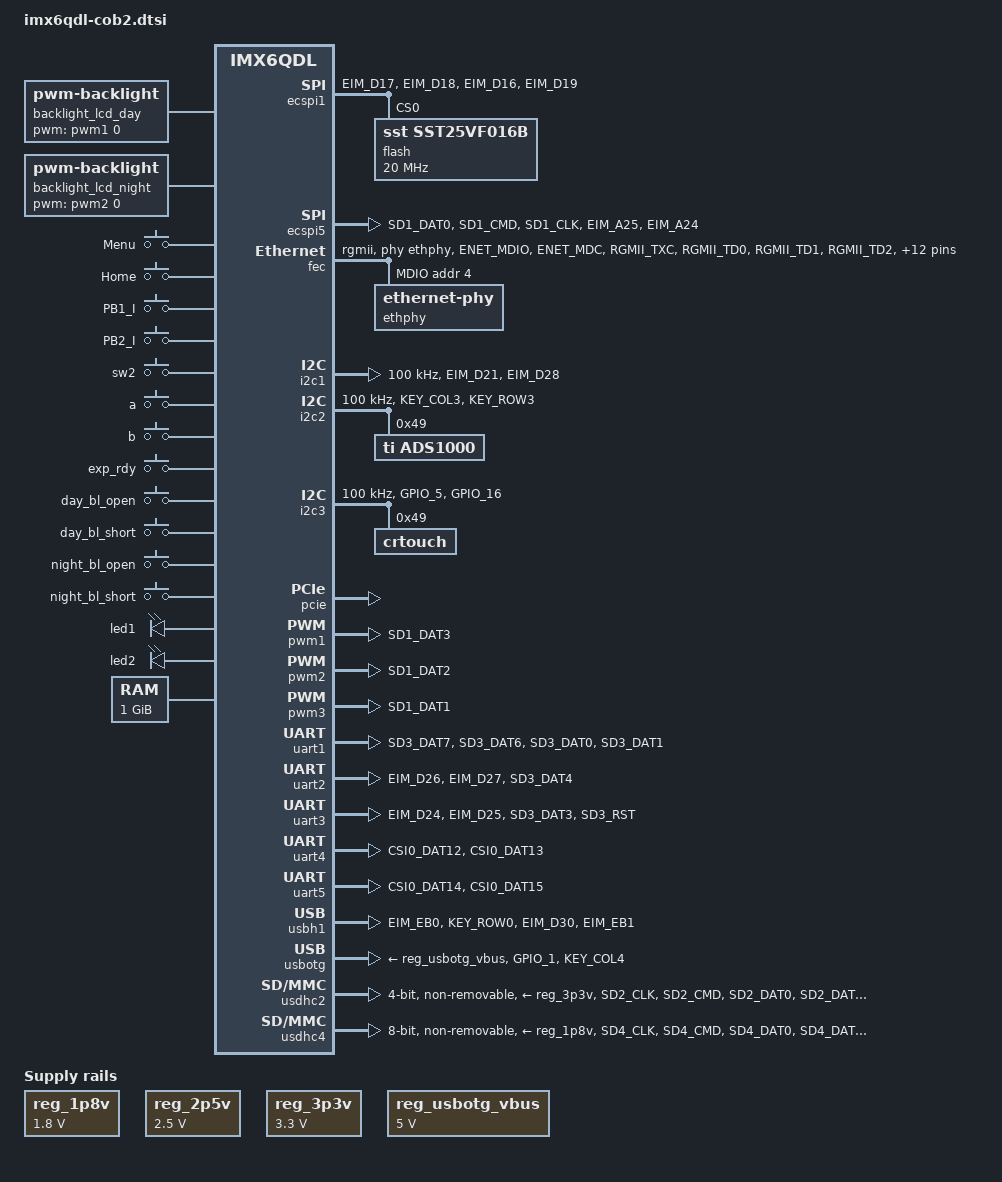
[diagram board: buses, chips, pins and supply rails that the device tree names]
/*
 * Copyright 2015 Boundary Devices, Inc.
 *
 * This file is dual-licensed: you can use it either under the terms
 * of the GPL or the X11 license, at your option. Note that this dual
 * licensing only applies to this file, and not this project as a
 * whole.
 *
 *  a) This file is free software; you can redistribute it and/or
 *     modify it under the terms of the GNU General Public License
 *     version 2 as published by the Free Software Foundation.
 *
 *     This file is distributed in the hope that it will be useful
 *     but WITHOUT ANY WARRANTY; without even the implied warranty of
 *     MERCHANTABILITY or FITNESS FOR A PARTICULAR PURPOSE.  See the
 *     GNU General Public License for more details.
 *
 * Or, alternatively
 *
 *  b) Permission is hereby granted, free of charge, to any person
 *     obtaining a copy of this software and associated documentation
 *     files (the "Software"), to deal in the Software without
 *     restriction, including without limitation the rights to use
 *     copy, modify, merge, publish, distribute, sublicense, and/or
 *     sell copies of the Software, and to permit persons to whom the
 *     Software is furnished to do so, subject to the following
 *     conditions:
 *
 *     The above copyright notice and this permission notice shall be
 *     included in all copies or substantial portions of the Software.
 *
 *     THE SOFTWARE IS PROVIDED , WITHOUT WARRANTY OF ANY KIND
 *     EXPRESS OR IMPLIED, INCLUDING BUT NOT LIMITED TO THE WARRANTIES
 *     OF MERCHANTABILITY, FITNESS FOR A PARTICULAR PURPOSE AND
 *     NONINFRINGEMENT. IN NO EVENT SHALL THE AUTHORS OR COPYRIGHT
 *     HOLDERS BE LIABLE FOR ANY CLAIM, DAMAGES OR OTHER LIABILITY
 *     WHETHER IN AN ACTION OF CONTRACT, TORT OR OTHERWISE, ARISING
 *     FROM, OUT OF OR IN CONNECTION WITH THE SOFTWARE OR THE USE OR
 *     OTHER DEALINGS IN THE SOFTWARE.
 */
#include <dt-bindings/gpio/gpio.h>
#include <dt-bindings/input/input.h>

&iomuxc {
	pinctrl-names = "default";
	pinctrl-0 = <&pinctrl_hog>;

        iomuxc_imx6q_cob2: iomuxc-imx6q-cob2grp {
                status = "okay";
        };
};

&iomuxc_imx6q_cob2 {
	pinctrl_ecspi1: ecspi1grp {
		fsl,pins = <
			MX6QDL_PAD_EIM_D17__ECSPI1_MISO		0x100b1
			MX6QDL_PAD_EIM_D18__ECSPI1_MOSI		0x100b1
			MX6QDL_PAD_EIM_D16__ECSPI1_SCLK		0x100b1
#define GP_ECSPI1_NOR_CS	<&gpio3 19 GPIO_ACTIVE_LOW>
			MX6QDL_PAD_EIM_D19__GPIO3_IO19		0x000b1
		>;
	};

	pinctrl_ecspi5: ecspi5grp {
		fsl,pins = <
			MX6QDL_PAD_SD1_DAT0__ECSPI5_MISO	0x100b1
			MX6QDL_PAD_SD1_CMD__ECSPI5_MOSI		0x100b1
			MX6QDL_PAD_SD1_CLK__ECSPI5_SCLK		0x100b1
#define GP_ECSPI5_CS0		<&gpio5 2 GPIO_ACTIVE_LOW>
			MX6QDL_PAD_EIM_A25__GPIO5_IO02		0x000b1
#define GP_ECSPI5_CS1		<&gpio5 4 GPIO_ACTIVE_LOW>
			MX6QDL_PAD_EIM_A24__GPIO5_IO04		0x000b1
		>;
	};

	pinctrl_enet: enetgrp {
		fsl,pins = <
			MX6QDL_PAD_ENET_MDIO__ENET_MDIO		0x100b0
			MX6QDL_PAD_ENET_MDC__ENET_MDC		0x100b0
			MX6QDL_PAD_RGMII_TXC__RGMII_TXC		0x10030
			MX6QDL_PAD_RGMII_TD0__RGMII_TD0		0x10030
			MX6QDL_PAD_RGMII_TD1__RGMII_TD1		0x10030
			MX6QDL_PAD_RGMII_TD2__RGMII_TD2		0x10030
			MX6QDL_PAD_RGMII_TD3__RGMII_TD3		0x10030
			MX6QDL_PAD_RGMII_TX_CTL__RGMII_TX_CTL	0x10030
			MX6QDL_PAD_ENET_REF_CLK__ENET_TX_CLK	0x100b0
			MX6QDL_PAD_RGMII_RXC__RGMII_RXC		0x1b030
			MX6QDL_PAD_RGMII_RD0__RGMII_RD0		0x1b030
			MX6QDL_PAD_RGMII_RD1__RGMII_RD1		0x1b030
			MX6QDL_PAD_RGMII_RD2__RGMII_RD2		0x1b030
			MX6QDL_PAD_RGMII_RD3__RGMII_RD3		0x1b030
			MX6QDL_PAD_RGMII_RX_CTL__RGMII_RX_CTL	0x1b030
#define GP_ENET_PHY_RESET	<&gpio1 27 GPIO_ACTIVE_LOW>
			MX6QDL_PAD_ENET_RXD0__GPIO1_IO27	0x030b0
#define GPIRQ_ENET_PHY		<&gpio1 28 IRQ_TYPE_LEVEL_LOW>
			MX6QDL_PAD_ENET_TX_EN__GPIO1_IO28	0x1b0b0
#define GPIRQ_ENET		<&gpio1 6 IRQ_TYPE_LEVEL_HIGH>
			MX6QDL_PAD_GPIO_6__ENET_IRQ		0x000b1
		>;
	};

	pinctrl_gpio_keys: gpio-keysgrp {
		fsl,pins = <
#define GP_GPIOKEYS_MENU	<&gpio1 0 GPIO_ACTIVE_LOW>
			MX6QDL_PAD_GPIO_0__GPIO1_IO00		0x1b0b0
#define GP_GPIOKEYS_HOME	<&gpio1 2 GPIO_ACTIVE_LOW>
			MX6QDL_PAD_GPIO_2__GPIO1_IO02		0x1b0b0
#define GP_GPIOKEYS_PB1_I	<&gpio1 8 GPIO_ACTIVE_LOW>
			MX6QDL_PAD_GPIO_8__GPIO1_IO08		0x1b0b0
#define GP_GPIOKEYS_PB2_I	<&gpio7 12 GPIO_ACTIVE_LOW>
			MX6QDL_PAD_GPIO_17__GPIO7_IO12		0x1b0b0
#define GP_GPIOKEYS_SW2		<&gpio3 9 GPIO_ACTIVE_LOW>
			MX6QDL_PAD_EIM_DA9__GPIO3_IO09		0x1b0b0
#define GP_GPIOKEYS_A		<&gpio3 12 GPIO_ACTIVE_LOW>
			MX6QDL_PAD_EIM_DA12__GPIO3_IO12		0x1b0b0
#define GP_GPIOKEYS_B		<&gpio3 13 GPIO_ACTIVE_LOW>
			MX6QDL_PAD_EIM_DA13__GPIO3_IO13		0x1b0b0
#define GP_GPIOKEYS_EXP_RDY	<&gpio3 14 GPIO_ACTIVE_LOW>
			MX6QDL_PAD_EIM_DA14__GPIO3_IO14		0x1b0b0
#define GP_GPIOKEYS_DAY_BL_OPEN	<&gpio7 13 GPIO_ACTIVE_LOW>
			MX6QDL_PAD_GPIO_18__GPIO7_IO13		0x1b0b0
#define GP_GPIOKEYS_DAY_BL_SHORT <&gpio4 5 GPIO_ACTIVE_LOW>
			MX6QDL_PAD_GPIO_19__GPIO4_IO05		0x1b0b0
#define GP_GPIOKEYS_NIGHT_BL_OPEN <&gpio4 6 GPIO_ACTIVE_LOW>
			MX6QDL_PAD_KEY_COL0__GPIO4_IO06		0x1b0b0
#define GP_GPIOKEYS_NIGHT_BL_SHORT <&gpio1 3 GPIO_ACTIVE_LOW>
			MX6QDL_PAD_GPIO_3__GPIO1_IO03		0x1b0b0
		>;
	};

	pinctrl_gpio_leds: gpio-ledsgrp {
		fsl,pins = <
#define GP_GPIOLEDS_1		<&gpio2 19 GPIO_ACTIVE_LOW>
			MX6QDL_PAD_EIM_A19__GPIO2_IO19		0x0b0b0
#define GP_GPIOLEDS_2		<&gpio2 18 GPIO_ACTIVE_LOW>
			MX6QDL_PAD_EIM_A20__GPIO2_IO18		0x0b0b0
		>;
	};

	pinctrl_hog: hoggrp {
		fsl,pins = <
#define GP_HEATER_EN		<&gpio4 10 GPIO_ACTIVE_LOW>
			MX6QDL_PAD_KEY_COL2__GPIO4_IO10		0x0b0b0
#define GP_LCD_DAY_BACKLIGHT_EN	<&gpio4 15 GPIO_ACTIVE_LOW>
			MX6QDL_PAD_KEY_ROW4__GPIO4_IO15		0x0b0b0
#define GP_LCD_NIGHT_BACKLIGHT_EN <&gpio4 11 GPIO_ACTIVE_LOW>
			MX6QDL_PAD_KEY_ROW2__GPIO4_IO11		0x0b0b0
#define GP_EXPAN_EN		<&gpio3 15 GPIO_ACTIVE_HIGH>
			MX6QDL_PAD_EIM_DA15__GPIO3_IO15	0x030b0

#define GP_TX			<&gpio2 30 GPIO_ACTIVE_LOW>
			MX6QDL_PAD_EIM_EB2__GPIO2_IO30		0x1b0b0
#define GP_RX			<&gpio2 31 GPIO_ACTIVE_LOW>
			MX6QDL_PAD_EIM_EB3__GPIO2_IO31		0x1b0b0

#define GP_HEATER_FAULT		<&gpio5 0 GPIO_ACTIVE_LOW>
			MX6QDL_PAD_EIM_WAIT__GPIO5_IO00		0x1b0b0

#define GP_DA1_OUTA		<&gpio3 0 GPIO_ACTIVE_LOW>
			MX6QDL_PAD_EIM_DA0__GPIO3_IO00		0x1b0b0
#define GP_DA1_OUTB		<&gpio3 1 GPIO_ACTIVE_LOW>
			MX6QDL_PAD_EIM_DA1__GPIO3_IO01		0x1b0b0
#define GP_DB1_OUTA		<&gpio3 2 GPIO_ACTIVE_LOW>
			MX6QDL_PAD_EIM_DA2__GPIO3_IO02		0x1b0b0
#define GP_DB1_OUTB		<&gpio3 3 GPIO_ACTIVE_LOW>
			MX6QDL_PAD_EIM_DA3__GPIO3_IO03		0x1b0b0
#define GP_DA2_OUTA		<&gpio3 4 GPIO_ACTIVE_LOW>
			MX6QDL_PAD_EIM_DA4__GPIO3_IO04		0x1b0b0
#define GP_DA2_OUTB		<&gpio3 5 GPIO_ACTIVE_LOW>
			MX6QDL_PAD_EIM_DA5__GPIO3_IO05		0x1b0b0
#define GP_DB2_OUTA		<&gpio3 6 GPIO_ACTIVE_LOW>
			MX6QDL_PAD_EIM_DA6__GPIO3_IO06		0x1b0b0
#define GP_DB2_OUTB		<&gpio3 7 GPIO_ACTIVE_LOW>
			MX6QDL_PAD_EIM_DA7__GPIO3_IO07		0x1b0b0
#define GP_DIS_FPGA_RESET	<&gpio1 4 GPIO_ACTIVE_LOW>
			MX6QDL_PAD_GPIO_4__GPIO1_IO04	0x130b0
#define GP_I2C_DIG_SEL		<&gpio4 8 GPIO_ACTIVE_LOW>
			MX6QDL_PAD_KEY_COL1__GPIO4_IO08		0x1b0b0
#define GP_FPGA_READY		<&gpio4 9 GPIO_ACTIVE_LOW>
			MX6QDL_PAD_KEY_ROW1__GPIO4_IO09		0x1b0b0

#define GP_HOG_TP71		<&gpio1 30 GPIO_ACTIVE_LOW>
			MX6QDL_PAD_ENET_TXD0__GPIO1_IO30	0x1b0b0
#define GP_HOG_TP74		<&gpio2 7 GPIO_ACTIVE_LOW>
			MX6QDL_PAD_NANDF_D7__GPIO2_IO07		0x130b0
#define GP_HOG_TP78		<&gpio1 7 GPIO_ACTIVE_LOW>
			MX6QDL_PAD_GPIO_7__GPIO1_IO07		0x1b0b0
#define GP_TP79			<&gpio7 6 GPIO_ACTIVE_LOW>
			MX6QDL_PAD_SD3_DAT2__GPIO7_IO06		0x1b0b0
#define GP_TP80			<&gpio5 29 GPIO_ACTIVE_LOW>
			MX6QDL_PAD_CSI0_DAT11__GPIO5_IO29	0x1b0b0
#define GP_TP81			<&gpio7 0 GPIO_ACTIVE_LOW>
			MX6QDL_PAD_SD3_DAT5__GPIO7_IO00		0x1b0b0
		>;
	};

	pinctrl_i2c1: i2c1grp {
		fsl,pins = <
			MX6QDL_PAD_EIM_D21__I2C1_SCL		0x4001b8b1
			MX6QDL_PAD_EIM_D28__I2C1_SDA		0x4001b8b1
		>;
	};

	pinctrl_i2c1_1: i2c1_1grp {
		fsl,pins = <
#define GP_I2C1_SCL	<&gpio3 21 GPIO_ACTIVE_HIGH>
			MX6QDL_PAD_EIM_D21__GPIO3_IO21		0x4001b8b1
#define GP_I2C1_SDA	<&gpio3 28 GPIO_ACTIVE_HIGH>
			MX6QDL_PAD_EIM_D28__GPIO3_IO28		0x4001b8b1
		>;
	};

	pinctrl_i2c2: i2c2grp {
		fsl,pins = <
			MX6QDL_PAD_KEY_COL3__I2C2_SCL		0x4001b8b1
			MX6QDL_PAD_KEY_ROW3__I2C2_SDA		0x4001b8b1
		>;
	};

	pinctrl_i2c2_1: i2c2_1grp {
		fsl,pins = <
#define GP_I2C2_SCL	<&gpio4 12 GPIO_ACTIVE_HIGH>
			MX6QDL_PAD_KEY_COL3__GPIO4_IO12		0x4001b8b1
#define GP_I2C2_SDA	<&gpio4 13 GPIO_ACTIVE_HIGH>
			MX6QDL_PAD_KEY_ROW3__GPIO4_IO13		0x4001b8b1
		>;
	};

	pinctrl_i2c3: i2c3grp {
		fsl,pins = <
			MX6QDL_PAD_GPIO_5__I2C3_SCL		0x4001b8b1
			MX6QDL_PAD_GPIO_16__I2C3_SDA		0x4001b8b1
		>;
	};

	pinctrl_i2c3_1: i2c3_1grp {
		fsl,pins = <
#define GP_I2C3_SCL	<&gpio1 5 GPIO_ACTIVE_HIGH>
			MX6QDL_PAD_GPIO_5__GPIO1_IO05		0x4001b8b1
#define GP_I2C3_SDA	<&gpio7 11 GPIO_ACTIVE_HIGH>
			MX6QDL_PAD_GPIO_16__GPIO7_IO11		0x4001b8b1
		>;
	};

	pinctrl_i2c3_crtouch: i2c3-crtouchgrp {
		fsl,pins = <
#define GPIRQ_I2C3_CRTOUCH	<&gpio1 9 IRQ_TYPE_EDGE_FALLING>
#define GP_I2C3_CRTOUCH		<&gpio1 9 GPIO_ACTIVE_LOW>
			MX6QDL_PAD_GPIO_9__GPIO1_IO09		0x1b0b0

#define GP_I2C3_CRTOUCH_WAKE	<&gpio2 27 GPIO_ACTIVE_LOW>
			MX6QDL_PAD_EIM_LBA__GPIO2_IO27		0x1b0b0
#define GP_I2C3_CRTOUCH_RESET	<&gpio2 26 GPIO_ACTIVE_LOW>
			MX6QDL_PAD_EIM_RW__GPIO2_IO26		0x130b0

		>;
	};

	pinctrl_lcd0: lcd0grp {
		fsl,pins = <
			MX6QDL_PAD_DI0_DISP_CLK__IPU1_DI0_DISP_CLK	0x10
			MX6QDL_PAD_DI0_PIN2__IPU1_DI0_PIN02		0x10
			MX6QDL_PAD_DI0_PIN3__IPU1_DI0_PIN03		0x10
			MX6QDL_PAD_DI0_PIN15__IPU1_DI0_PIN15		0x10
			MX6QDL_PAD_DISP0_DAT0__IPU1_DISP0_DATA00	0x10
			MX6QDL_PAD_DISP0_DAT1__IPU1_DISP0_DATA01	0x10
			MX6QDL_PAD_DISP0_DAT2__IPU1_DISP0_DATA02	0x10
			MX6QDL_PAD_DISP0_DAT3__IPU1_DISP0_DATA03	0x10
			MX6QDL_PAD_DISP0_DAT4__IPU1_DISP0_DATA04	0x10
			MX6QDL_PAD_DISP0_DAT5__IPU1_DISP0_DATA05	0x10
			MX6QDL_PAD_DISP0_DAT6__IPU1_DISP0_DATA06	0x10
			MX6QDL_PAD_DISP0_DAT7__IPU1_DISP0_DATA07	0x10
			MX6QDL_PAD_DISP0_DAT8__IPU1_DISP0_DATA08	0x10
			MX6QDL_PAD_DISP0_DAT9__IPU1_DISP0_DATA09	0x10
			MX6QDL_PAD_DISP0_DAT10__IPU1_DISP0_DATA10	0x10
			MX6QDL_PAD_DISP0_DAT11__IPU1_DISP0_DATA11	0x10
			MX6QDL_PAD_DISP0_DAT12__IPU1_DISP0_DATA12	0x10
			MX6QDL_PAD_DISP0_DAT13__IPU1_DISP0_DATA13	0x10
			MX6QDL_PAD_DISP0_DAT14__IPU1_DISP0_DATA14	0x10
			MX6QDL_PAD_DISP0_DAT15__IPU1_DISP0_DATA15	0x10
			MX6QDL_PAD_DISP0_DAT16__IPU1_DISP0_DATA16	0x10
			MX6QDL_PAD_DISP0_DAT17__IPU1_DISP0_DATA17	0x10
			MX6QDL_PAD_DISP0_DAT18__IPU1_DISP0_DATA18	0x10
			MX6QDL_PAD_DISP0_DAT19__IPU1_DISP0_DATA19	0x10
			MX6QDL_PAD_DISP0_DAT20__IPU1_DISP0_DATA20	0x10
			MX6QDL_PAD_DISP0_DAT21__IPU1_DISP0_DATA21	0x10
			MX6QDL_PAD_DISP0_DAT22__IPU1_DISP0_DATA22	0x10
			MX6QDL_PAD_DISP0_DAT23__IPU1_DISP0_DATA23	0x10
		>;
	};

	pinctrl_pwm1: pwm1grp {
		fsl,pins = <
			MX6QDL_PAD_SD1_DAT3__PWM1_OUT		0x030b0
		>;
	};

	pinctrl_pwm2: pwm2grp {
		fsl,pins = <
			MX6QDL_PAD_SD1_DAT2__PWM2_OUT		0x030b0
		>;
	};

	pinctrl_pwm3: pwm3grp {
		fsl,pins = <
			MX6QDL_PAD_SD1_DAT1__PWM3_OUT		0x030b0
		>;
	};

	pinctrl_reg_usbotg_vbus: reg-usbotg-vbusgrp {
		fsl,pins = <
#define GP_REG_USBOTG		<&gpio3 22 GPIO_ACTIVE_HIGH>
			MX6QDL_PAD_EIM_D22__GPIO3_IO22		0x030b0
		>;
	};

	pinctrl_uart1: uart1grp {
		fsl,pins = <
			MX6QDL_PAD_SD3_DAT7__UART1_TX_DATA	0x1b0b1
			MX6QDL_PAD_SD3_DAT6__UART1_RX_DATA	0x1b0b1
			MX6QDL_PAD_SD3_DAT0__UART1_CTS_B	0x1b0b1
			MX6QDL_PAD_SD3_DAT1__UART1_RTS_B	0x1b0b1
		>;
	};

	pinctrl_uart2: uart2grp {
		fsl,pins = <
			MX6QDL_PAD_EIM_D26__UART2_TX_DATA	0x1b0b1
			MX6QDL_PAD_EIM_D27__UART2_RX_DATA	0x1b0b1
			MX6QDL_PAD_SD3_DAT4__GPIO7_IO01		0x100b0
		>;
	};

	pinctrl_uart2_j57: uart2-j57grp {
		fsl,pins = <
			MX6QDL_PAD_EIM_D26__UART2_TX_DATA	0x1b0b1
			MX6QDL_PAD_SD3_DAT4__UART2_RX_DATA	0x1b0b1
			MX6QDL_PAD_EIM_D27__GPIO3_IO27		0x100b0
		>;
	};

	pinctrl_uart3: uart3grp {
		fsl,pins = <
			MX6QDL_PAD_EIM_D24__UART3_TX_DATA	0x1b0b1
			MX6QDL_PAD_EIM_D25__UART3_RX_DATA	0x1b0b1
			MX6QDL_PAD_SD3_DAT3__UART3_CTS_B	0x1b0b1
			MX6QDL_PAD_SD3_RST__UART3_RTS_B		0x1b0b1
		>;
	};

	pinctrl_uart4: uart4grp {
		fsl,pins = <
			MX6QDL_PAD_CSI0_DAT12__UART4_TX_DATA	0x1b0b1
			MX6QDL_PAD_CSI0_DAT13__UART4_RX_DATA	0x1b0b1
		>;
	};

	pinctrl_uart5: uart5grp {
		fsl,pins = <
			MX6QDL_PAD_CSI0_DAT14__UART5_TX_DATA	0x0b0b1
			MX6QDL_PAD_CSI0_DAT15__UART5_RX_DATA	0x1b0b1
		>;
	};

	pinctrl_usbh1: usbh1grp {
		fsl,pins = <
#define GP_USBH1_SOURCE		<&gpio2 28 GPIO_ACTIVE_LOW>
			MX6QDL_PAD_EIM_EB0__GPIO2_IO28		0x030b0
#define GP_USBH1_FP_OC		<&gpio4 7 GPIO_ACTIVE_LOW>
			MX6QDL_PAD_KEY_ROW0__GPIO4_IO07		0x1b0b0
			MX6QDL_PAD_EIM_D30__USB_H1_OC		0x1b0b0
#define GP_USBH1_HUB_RESET      <&gpio2 29 GPIO_ACTIVE_LOW>
			MX6QDL_PAD_EIM_EB1__GPIO2_IO29	0x130b0
		>;
	};

	pinctrl_usbotg: usbotggrp {
		fsl,pins = <
			MX6QDL_PAD_GPIO_1__USB_OTG_ID		0x17059
			MX6QDL_PAD_KEY_COL4__USB_OTG_OC		0x17059
		>;
	};

	pinctrl_usdhc2: usdhc2grp {
		fsl,pins = <
			MX6QDL_PAD_SD2_CLK__SD2_CLK		0x10071
			MX6QDL_PAD_SD2_CMD__SD2_CMD		0x17071
			MX6QDL_PAD_SD2_DAT0__SD2_DATA0		0x17071
			MX6QDL_PAD_SD2_DAT1__SD2_DATA1		0x17071
			MX6QDL_PAD_SD2_DAT2__SD2_DATA2		0x17071
			MX6QDL_PAD_SD2_DAT3__SD2_DATA3		0x17071
		>;
	};

	pinctrl_usdhc4: usdhc4grp {
		fsl,pins = <
			MX6QDL_PAD_SD4_CLK__SD4_CLK		0x10059
			MX6QDL_PAD_SD4_CMD__SD4_CMD		0x17059
			MX6QDL_PAD_SD4_DAT0__SD4_DATA0		0x17059
			MX6QDL_PAD_SD4_DAT1__SD4_DATA1		0x17059
			MX6QDL_PAD_SD4_DAT2__SD4_DATA2		0x17059
			MX6QDL_PAD_SD4_DAT3__SD4_DATA3		0x17059
			MX6QDL_PAD_SD4_DAT4__SD4_DATA4		0x17059
			MX6QDL_PAD_SD4_DAT5__SD4_DATA5		0x17059
			MX6QDL_PAD_SD4_DAT6__SD4_DATA6		0x17059
			MX6QDL_PAD_SD4_DAT7__SD4_DATA7		0x17059
#define GP_EMMC_RESET		<&gpio2 6 GPIO_ACTIVE_LOW>
			MX6QDL_PAD_NANDF_D6__GPIO2_IO06		0x0b0b0
		>;
	};
};

/ {
	aliases {
		backlight_lcd = &backlight_lcd_day;
		fb_lcd = &fb_lcd;
		lcd = &lcd;
		mmc0 = &usdhc4;
		mxcfb0 = &fb_lcd;
		pwm_lcd = &pwm1;
	};

	backlight_lcd_day: backlight_lcd_day {
		brightness-levels = <0 1 2 3 4 5 6 7 8 9 10>;
		compatible = "pwm-backlight";
		default-brightness-level = <5>;
		display = <&fb_lcd>;
		pwms = <&pwm1 0 3333333>;
	};

	backlight_lcd_night {
		brightness-levels = <0 1 2 3 4 5 6 7 8 9 10>;
		compatible = "pwm-backlight";
		default-brightness-level = <0>;
		display = <&fb_lcd>;
		pwms = <&pwm2 0 3333333>;
	};

	gpio-keys {
		compatible = "gpio-keys";
		pinctrl-names = "default";
		pinctrl-0 = <&pinctrl_gpio_keys>;

		menu {
			gpios = GP_GPIOKEYS_MENU;
			label = "Menu";
			linux,code = <KEY_MENU>;
		};

		home {
			gpios = GP_GPIOKEYS_HOME;
			label = "Home";
			linux,code = <KEY_HOMEPAGE>;
		};

		pb1 {
			gpios = GP_GPIOKEYS_PB1_I;
			label = "PB1_I";
			linux,code = <KEY_VOLUMEUP>;
		};

		pb2 {
			gpios = GP_GPIOKEYS_PB2_I;
			label = "PB2_I";
			linux,code = <KEY_VOLUMEDOWN>;
		};

		sw2 {
			gpios = GP_GPIOKEYS_SW2;
			label = "sw2";
			linux,code = <KEY_FN_F2>;
		};

		a {
			gpios = GP_GPIOKEYS_A;
			label = "a";
			linux,code = <KEY_FN_F3>;
		};

		b {
			gpios = GP_GPIOKEYS_B;
			label = "b";
			linux,code = <KEY_FN_F4>;
		};

		exp_rdy {
			gpios = GP_GPIOKEYS_EXP_RDY;
			label = "exp_rdy";
			linux,code = <KEY_FN_F5>;
		};

		day_bl_open {
			gpios = GP_GPIOKEYS_DAY_BL_OPEN;
			label = "day_bl_open";
			linux,code = <KEY_FN_F6>;
		};

		day_bl_short {
			gpios = GP_GPIOKEYS_DAY_BL_SHORT;
			label = "day_bl_short";
			linux,code = <KEY_FN_F7>;
		};

		night_bl_open {
			gpios = GP_GPIOKEYS_NIGHT_BL_OPEN;
			label = "night_bl_open";
			linux,code = <KEY_FN_F8>;
		};

		night_bl_short {
			gpios = GP_GPIOKEYS_NIGHT_BL_SHORT;
			label = "night_bl_short";
			linux,code = <KEY_FN_F9>;
		};
	};

	gpio_leds: leds {
		compatible = "gpio-leds";
		pinctrl-names = "default";
		pinctrl-0 = <&pinctrl_gpio_leds>;

		led1 {
			default-state = "off";
			gpios = GP_GPIOLEDS_1;
			retain-state-suspended;
		};
		led2 {
			default-state = "off";
			gpios = GP_GPIOLEDS_2;
			retain-state-suspended;
		};
	};

	fb_lcd: fb@0 {
		compatible = "fsl,mxc_sdc_fb";
		default_bpp = <16>;
		disp_dev = "lcd";
		int_clk = <0>;
		interface_pix_fmt = "RGB24";
		late_init = <0>;
		mode_str ="DC050WX";
		status = "disabled";
	};

	lcd: lcd@0 {
		compatible = "fsl,lcd";
		default_ifmt = "RGB24";
		disp_id = <0>;
		ipu_id = <0>;
		pinctrl-names = "default";
		pinctrl-0 = <&pinctrl_lcd0>;
		status = "okay";
	};

	memory {
		reg = <0x10000000 0x40000000>;
	};

	reg_1p8v: regulator-1p8v {
		compatible = "regulator-fixed";
		regulator-always-on;
		regulator-max-microvolt = <1800000>;
		regulator-min-microvolt = <1800000>;
		regulator-name = "1P8V";
	};

	reg_2p5v: regulator-2p5v {
		compatible = "regulator-fixed";
		regulator-always-on;
		regulator-max-microvolt = <2500000>;
		regulator-min-microvolt = <2500000>;
		regulator-name = "2P5V";
	};

	reg_3p3v: regulator-3p3v {
		compatible = "regulator-fixed";
		regulator-always-on;
		regulator-max-microvolt = <3300000>;
		regulator-min-microvolt = <3300000>;
		regulator-name = "3P3V";
	};

	reg_usbotg_vbus: regulator-usbotg {
		compatible = "regulator-fixed";
		enable-active-high;
		gpio = GP_REG_USBOTG;
		pinctrl-names = "default";
		pinctrl-0 = <&pinctrl_reg_usbotg_vbus>;
		regulator-max-microvolt = <5000000>;
		regulator-min-microvolt = <5000000>;
		regulator-name = "usb_otg_vbus";
	};

	v4l2_out {
		compatible = "fsl,mxc_v4l2_output";
		status = "okay";
	};
};

&ecspi1 {
	cs-gpios = GP_ECSPI1_NOR_CS;
	fsl,spi-num-chipselects = <1>;
	pinctrl-names = "default";
	pinctrl-0 = <&pinctrl_ecspi1>;
	status = "okay";

	flash: m25p80@0 {
		compatible = "sst,sst25vf016b";
		reg = <0>;
		spi-max-frequency = <20000000>;

		#address-cells = <1>;
		#size-cells = <1>;
		mtd@00000000 {
			label = "U-Boot";
			reg = <0x0 0xC0000>;
		};

		mtd@000C0000 {
			label = "env";
			reg = <0xC0000 0x2000>;
		};
		mtd@000C2000 {
			label = "splash";
			reg = <0xC2000 0x13e000>;
		};
	};
};

&ecspi5 {
	cs-gpios = GP_ECSPI5_CS0, GP_ECSPI5_CS1;
	fsl,spi-num-chipselects = <2>;
	pinctrl-names = "default";
	pinctrl-0 = <&pinctrl_ecspi5>;
	status = "okay";

};

&fec {
	interrupts-extended = GPIRQ_ENET,
			      <&gpc 0 119 IRQ_TYPE_LEVEL_HIGH>;
	phy-handle = <&ethphy>;
	phy-mode = "rgmii";
#if 0
	phy-reset-gpios = GP_ENET_PHY_RESET;
#endif
	pinctrl-names = "default";
	pinctrl-0 = <&pinctrl_enet>;
	status = "okay";

	mdio {
		#address-cells = <0>;
		#size-cells = <1>;

		ethphy: ethernet-phy@4 {
			reg = <4>;
			interrupts-extended = GPIRQ_ENET_PHY;
		};
	};
};

&i2c1 {
	clock-frequency = <100000>;
	pinctrl-names = "default", "gpio";
	pinctrl-0 = <&pinctrl_i2c1>;
	pinctrl-1 = <&pinctrl_i2c1_1>;
	scl-gpios = GP_I2C1_SCL;
	sda-gpios = GP_I2C1_SDA;
	status = "okay";
};


&i2c2 {
	clock-frequency = <100000>;
	pinctrl-names = "default", "gpio";
	pinctrl-0 = <&pinctrl_i2c2>;
	pinctrl-1 = <&pinctrl_i2c2_1>;
	scl-gpios = GP_I2C2_SCL;
	sda-gpios = GP_I2C2_SDA;
	status = "okay";

	ads1000@49 {
		compatible = "ti,ads1000";
		reg = <0x49>;
	};
};

&i2c3 {
	clock-frequency = <100000>;
	pinctrl-names = "default", "gpio";
	pinctrl-0 = <&pinctrl_i2c3>;
	pinctrl-1 = <&pinctrl_i2c3_1>;
	scl-gpios = GP_I2C3_SCL;
	sda-gpios = GP_I2C3_SDA;
	status = "okay";

        crtouch@49 {
		compatible = "crtouch";
		pinctrl-names = "default";
		pinctrl-0 = <&pinctrl_i2c3_crtouch>;
		reg = <0x49>;
#if 0
		interrupts-extended = GPIRQ_I2C3_CRTOUCH;
		wakeup-gpios = GP_I2C3_CRTOUCH;
#endif
		reset-gpios = GP_I2C3_CRTOUCH_RESET;
		wake-gpios = GP_I2C3_CRTOUCH_WAKE;
	};
};

&pcie {
	status = "okay";
};

&pwm1 {
	pinctrl-names = "default";
	pinctrl-0 = <&pinctrl_pwm1>;
	status = "okay";
};

&pwm2 {
	pinctrl-names = "default";
	pinctrl-0 = <&pinctrl_pwm2>;
	status = "okay";
};

&pwm3 {
	pinctrl-names = "default";
	pinctrl-0 = <&pinctrl_pwm3>;
	status = "okay";
};

&uart1 {
	pinctrl-names = "default";
	pinctrl-0 = <&pinctrl_uart1>;
	fsl,uart-has-rtscts;
	status = "okay";
};

&uart2 {
	pinctrl-names = "default", "alt1";
	pinctrl-0 = <&pinctrl_uart2>;
	pinctrl-1 = <&pinctrl_uart2_j57>;
	status = "okay";
};

&uart3 {
	fsl,uart-has-rtscts;
	pinctrl-names = "default";
	pinctrl-0 = <&pinctrl_uart3>;
	status = "okay";
};

&uart4 {
	pinctrl-names = "default";
	pinctrl-0 = <&pinctrl_uart4>;
	status = "okay";
};

&uart5 {
	pinctrl-names = "default";
	pinctrl-0 = <&pinctrl_uart5>;
	status = "okay";
};

&usbh1 {
	pinctrl-names = "default";
	pinctrl-0 = <&pinctrl_usbh1>;
	reset-gpios = GP_USBH1_HUB_RESET, GP_USBH1_SOURCE;
	status = "okay";
};

&usbotg {
	pinctrl-names = "default";
	pinctrl-0 = <&pinctrl_usbotg>;
	status = "okay";
	vbus-supply = <&reg_usbotg_vbus>;
};

&usdhc2 {	/* uSDHC2, sdio */
	bus-width = <4>;
	cap-power-off-card;
	keep-power-in-suspend;
	non-removable;
	pinctrl-names = "default";
	pinctrl-0 = <&pinctrl_usdhc2>;
	status = "okay";
	vmmc-supply = <&reg_3p3v>;
};

&usdhc4 {
	bus-width = <8>;
	keep-power-in-suspend;
	non-removable;
	pinctrl-names = "default";
	pinctrl-0 = <&pinctrl_usdhc4>;
	reset-gpios = GP_EMMC_RESET;
	status = "okay";
	vqmmc-1-8-v;
	vmmc-supply = <&reg_1p8v>;
};
